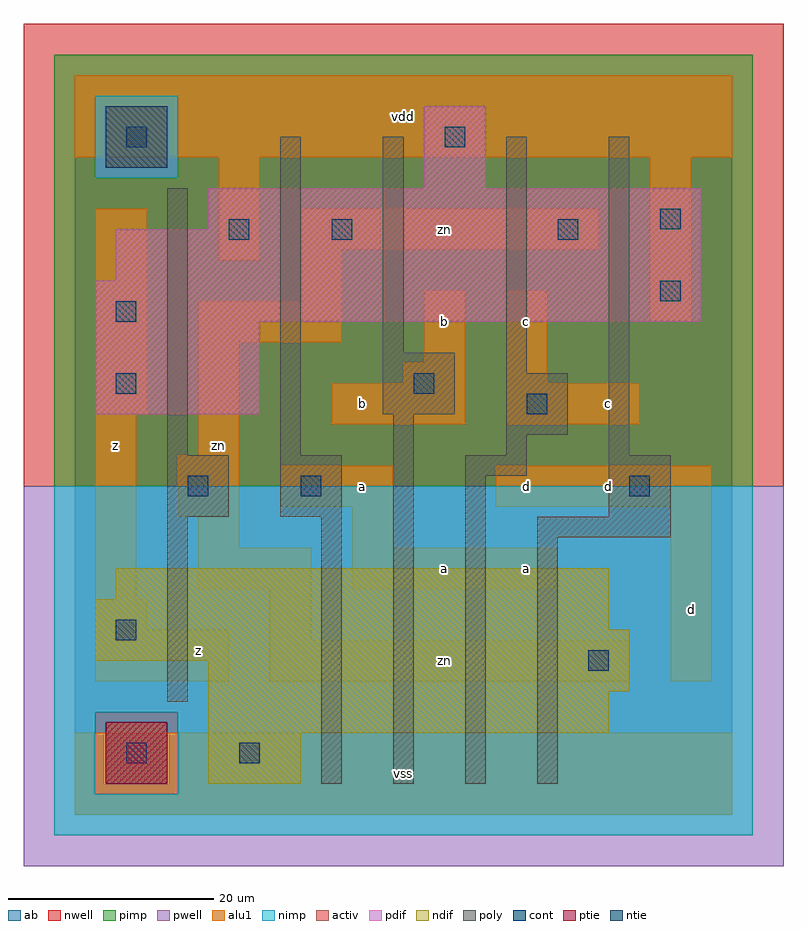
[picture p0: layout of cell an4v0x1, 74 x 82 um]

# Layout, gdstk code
import gdstk
lib = gdstk.Library(unit=1e-6, precision=1e-09)
def R(c, l, rs):  # rectangles x0, y0, x1, y1
    for r in rs: c.add(gdstk.rectangle(r[:2], r[2:], *l))
ndif = (3, 0)
pdif = (4, 0)
ntie = (5, 0)
ptie = (6, 0)
cont = (25, 0)
pwell = (41, 0)
nwell = (42, 0)
activ = (43, 0)
pimp = (44, 0)
nimp = (45, 0)
poly = (46, 0)
alu1 = (49, 0)
ab = (63, 0)

an4v0x1 = lib.new_cell('an4v0x1')
R(an4v0x1, ndif, [(13,3,22,8), (13,8,52,12), (13,12,54,15), (2,15,54,18), (2,18,52,21), (4,21,52,24)])
R(an4v0x1, pdif, [(2,39,18,48), (2,48,61,52), (4,52,61,57), (13,57,61,61), (34,61,40,69)])
R(an4v0x1, ntie, [(3,63,9,69)])
R(an4v0x1, ptie, [(3,3,9,9)])
R(an4v0x1, cont, [(5,5,7,7), (16,5,18,7), (50,14,52,16), (4,17,6,19), (11,31,13,33), (22,31,24,33), (54,31,56,33), (44,39,46,41), (4,41,6,43), (33,41,35,43), (4,48,6,50), (57,50,59,52), (15,56,17,58), (25,56,27,58), (47,56,49,58), (57,57,59,59), (5,65,7,67), (36,65,38,67)])
R(an4v0x1, pwell, [(-5,-5,69,32)])
R(an4v0x1, nwell, [(-5,32,69,77)])
R(an4v0x1, activ, [(3,3,9,9), (13,3,22,8), (13,8,52,12), (13,12,54,15), (2,15,54,18), (2,18,52,21), (4,21,52,24), (2,39,18,48), (2,48,61,52), (4,52,61,57), (13,57,61,61), (34,61,40,69), (3,63,9,69)])
R(an4v0x1, pimp, [(2,2,10,10), (-2,32,66,62), (-2,62,2,70), (10,62,66,70), (-2,70,66,74)])
R(an4v0x1, nimp, [(-2,-2,66,2), (-2,2,2,10), (10,2,66,10), (-2,10,66,32), (2,62,10,70)])
R(an4v0x1, poly, [(24,3,26,29), (31,3,33,39), (38,3,40,33), (45,3,47,27), (9,11,11,29), (45,27,58,29), (9,29,15,35), (20,29,26,35), (52,29,58,35), (38,33,44,35), (9,35,11,61), (20,35,22,66), (42,35,44,37), (52,35,54,66), (42,37,48,43), (30,39,37,45), (42,43,44,66), (30,45,32,66)])
R(an4v0x1, alu1, [(0,0,64,8), (2,13,15,18), (19,13,54,17), (58,13,62,30), (19,17,23,22), (2,18,7,21), (2,21,6,39), (12,22,23,26), (27,22,47,26), (12,26,16,29), (27,26,31,30), (10,29,16,35), (20,30,31,34), (41,30,62,34), (12,35,16,46), (25,38,38,42), (42,38,55,42), (2,39,7,59), (32,42,38,44), (42,42,46,51), (34,44,38,51), (12,46,26,50), (56,48,60,64), (22,50,26,55), (14,54,18,64), (22,55,51,59), (0,64,64,72)])
R(an4v0x1, ab, [(0,0,64,72)])
an4v0x1.add(gdstk.Label('zn', (14,36), layer=49, texttype=0))
an4v0x1.add(gdstk.Label('zn', (36,15), layer=49, texttype=0))
an4v0x1.add(gdstk.Label('zn', (36,57), layer=49, texttype=0))
an4v0x1.add(gdstk.Label('z', (12,16), layer=49, texttype=0))
an4v0x1.add(gdstk.Label('z', (4,36), layer=49, texttype=0))
an4v0x1.add(gdstk.Label('a', (28,32), layer=49, texttype=0))
an4v0x1.add(gdstk.Label('b', (28,40), layer=49, texttype=0))
an4v0x1.add(gdstk.Label('vss', (32,4), layer=49, texttype=0))
an4v0x1.add(gdstk.Label('a', (36,24), layer=49, texttype=0))
an4v0x1.add(gdstk.Label('a', (44,24), layer=49, texttype=0))
an4v0x1.add(gdstk.Label('d', (44,32), layer=49, texttype=0))
an4v0x1.add(gdstk.Label('b', (36,48), layer=49, texttype=0))
an4v0x1.add(gdstk.Label('c', (44,48), layer=49, texttype=0))
an4v0x1.add(gdstk.Label('vdd', (32,68), layer=49, texttype=0))
an4v0x1.add(gdstk.Label('d', (60,20), layer=49, texttype=0))
an4v0x1.add(gdstk.Label('d', (52,32), layer=49, texttype=0))
an4v0x1.add(gdstk.Label('c', (52,40), layer=49, texttype=0))

lib.write_gds('an4v0x1.gds')
